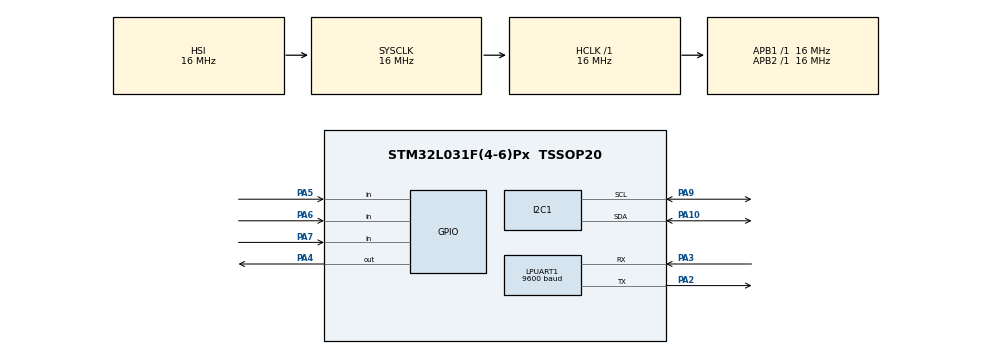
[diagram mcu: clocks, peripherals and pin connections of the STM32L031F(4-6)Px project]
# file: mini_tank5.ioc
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I2C1.Timing=0x00303D5B
LPUART1.BaudRate=9600
LPUART1.WordLength=UART_WORDLENGTH_8B
Mcu.Family=STM32L0
Mcu.Name=STM32L031F(4-6)Px
Mcu.Package=TSSOP20
PA10.Mode=I2C
PA10.Signal=I2C1_SDA
PA2.Mode=Asynchronous
PA2.Signal=LPUART1_TX
PA3.Mode=Asynchronous
PA3.Signal=LPUART1_RX
PA4.PinState=GPIO_PIN_RESET
PA4.Signal=GPIO_Output
PA5.GPIO_PuPd=GPIO_PULLUP
PA5.Signal=GPIO_Input
PA6.GPIO_PuPd=GPIO_PULLUP
PA6.Signal=GPIO_Input
PA7.Signal=GPIO_Input
PA9.Mode=I2C
PA9.Signal=I2C1_SCL
ProjectManager.HeapSize=0x200
ProjectManager.StackSize=0x400
ProjectManager.TargetToolchain=STM32CubeIDE
RCC.AHBFreq_Value=16000000
RCC.APB1Freq_Value=16000000
RCC.APB1TimFreq_Value=16000000
RCC.APB2Freq_Value=16000000
RCC.APB2TimFreq_Value=16000000
RCC.HCLKFreq_Value=16000000
RCC.HSE_VALUE=8000000
RCC.HSI16_VALUE=16000000
RCC.HSI_VALUE=16000000
RCC.LSE_VALUE=32768
RCC.Lpuart1ClockSelection=RCC_LPUART1CLKSOURCE_HSI
RCC.MSI_VALUE=2097000
RCC.SYSCLKFreq_VALUE=16000000
RCC.SYSCLKSource=RCC_SYSCLKSOURCE_HSI
RCC.VCOOutputFreq_Value=48000000
board=custom

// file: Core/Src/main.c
/* USER CODE BEGIN Header */
/**
  ******************************************************************************
  * @file           : main.c
  * @brief          : Main program body
  ******************************************************************************
  * @attention
  *
  * <h2><center>&copy; Copyright (c) 2021 STMicroelectronics.
  * All rights reserved.</center></h2>
  *
  * This software component is licensed by ST under BSD 3-Clause license,
  * the "License"; You may not use this file except in compliance with the
  * License. You may obtain a copy of the License at:
  *                        opensource.org/licenses/BSD-3-Clause
  *
  ******************************************************************************
  */
/* USER CODE END Header */
#include "main.h"
#include "usart.h"
#include "wifi.h"
#include "stm32l0xx_hal.h"
#include "stm32l0xx_it.h"
#include "stm32l0xx_hal_tim.h"
#include "sys.h"
#include "sht30.h"
#include "stdio.h"
//#include "SHT30.h"

/* USER CODE BEGIN Includes */
#define tuya

#ifdef USER_MAIN_DEBUG

#define log(format, ...) printf( format "\r\n",##__VA_ARGS__)

#else
#define log(format, ...)

#endif

/* USER CODE END Includes */

/* USER CODE BEGIN PTD */
    I2C_HandleTypeDef hi2c1;
    SHT30_T SHT3ODATA;
    UART_HandleTypeDef hlpuart1;
    TIM_HandleTypeDef htim2;
    TIM_HandleTypeDef htim21;

//uint16_t adcbuf[10]; //锟斤拷锟絘dc
//uint8_t hall_flag=1;    //锟斤拷锟斤拷锟酵碉拷平锟斤拷志
//uint8_t CONTROL=0x01;  //锟斤拷锟斤拷状态
//uint16_t time=0,time1,time2,now=0,min=0,max=600;
//uint32_t temp = 0;//锟斤拷锟节斤拷锟秸猴拷锟斤拷锟斤拷锟斤拷
//uint16_t rx_temp[1]; //锟斤拷锟节斤拷锟斤拷
//UART_HandleTypeDef hlpuart1;
#ifdef tuya
//uint8_t PERCENT_CONTROL=0,AUTO_POWER=1,BATTERY_PERCENTAGE;
//uint8_t PERCENT_STATE=0;
//uint16_t now_control=0xffff;
#endif
/* USER CODE END PTD */

/* USER CODE BEGIN PFP */

/*
int fputc(int ch, FILE *f)	  //fputc重写
{
	 uint8_t temp[1]={ch};
  HAL_UART_Transmit(&hlpuart1,temp,1,2);
	return ch;
}
*/

/* USER CODE END PFP */

void SystemClock_Config(void);
void MX_GPIO_Init(void);
void MX_LPUART1_UART_Init(void);
static void MX_I2C1_Init(void);
void MX_TIM2_Init(void);
void MX_TIM21_Init(void);

int main(void)
{

  /* MCU Configuration--------------------------------------------------------*/

  /* Reset of all peripherals, Initializes the Flash interface and the Systick. */
  HAL_Init();

  /* Configure the system clock */
  SystemClock_Config();

  /* Initialize all configured peripherals */
  MX_GPIO_Init();
  MX_LPUART1_UART_Init();
  MX_I2C1_Init();

//  MX_TIM2_Init();
//  MX_TIM21_Init();
  /* USER CODE BEGIN 2 */

//  HAL_TIM_Base_Start_IT(&htim21);
//  HAL_TIM_Base_Stop(&htim21);

#ifdef tuya
	wifi_protocol_init();
//    HAL_UART_Receive_IT(&hlpuart1,(uint8_t *)rx_temp, 1);
#endif
  /* USER CODE END 2 */
  /* USER CODE END 2 */

  /* Infinite loop */
  /* USER CODE BEGIN WHILE */

  while (1)
  {

#ifdef tuya
	    wifi_uart_service();  //SDK锟斤拷锟斤拷
	   // mcu_reset_wifi();
		if(HAL_GPIO_ReadPin(sw2_GPIO_Port, sw2_Pin)==0)                //检测按键按下2000ms进入配网模式
		{
			HAL_GPIO_WritePin(led_GPIO_Port, led_Pin, GPIO_PIN_SET);
			HAL_Delay(2000);

			if(HAL_GPIO_ReadPin(sw2_GPIO_Port, sw2_Pin)==0)
		  {
			HAL_GPIO_WritePin(led_GPIO_Port, led_Pin, GPIO_PIN_RESET);
			HAL_Delay(100);
			mcu_set_wifi_mode(SMART_CONFIG);
			HAL_Delay(100);
		  }

			switch(mcu_get_wifi_work_state())                   //查询配网状态
						{
							case SMART_CONFIG_STATE: //Smart 配置状态 LED 快闪 �
							  while(mcu_get_wifi_work_state() == SMART_CONFIG_STATE )
								{
									HAL_GPIO_WritePin(led_GPIO_Port, led_Pin, GPIO_PIN_SET);
									HAL_Delay(500);
									HAL_GPIO_WritePin(led_GPIO_Port, led_Pin, GPIO_PIN_RESET);
									HAL_Delay(500);
			          }
								break;
							case AP_STATE: //AP 配置状态 LED 慢闪
							  while(mcu_get_wifi_work_state() == AP_STATE )
								{
									HAL_GPIO_WritePin(led_GPIO_Port, led_Pin, GPIO_PIN_SET);
									HAL_Delay(2000);
									HAL_GPIO_WritePin(led_GPIO_Port, led_Pin, GPIO_PIN_RESET);
									HAL_Delay(2000);
								}
								break;
							case WIFI_NOT_CONNECTED: //WIFI 配置完成，正在连接路由器
							{
								HAL_GPIO_WritePin(led_GPIO_Port, led_Pin, GPIO_PIN_SET);
								HAL_Delay(250);
								HAL_GPIO_WritePin(led_GPIO_Port, led_Pin, GPIO_PIN_RESET);
								HAL_Delay(250);
							}
								break;
							case WIFI_CONN_CLOUD: //wifi 已连上云端 LED 慢闪硕后关闭
							{
								HAL_GPIO_WritePin(led_GPIO_Port, led_Pin, GPIO_PIN_SET);
							    HAL_Delay(4000);
								HAL_GPIO_WritePin(led_GPIO_Port, led_Pin, GPIO_PIN_RESET);
								HAL_Delay(4000);
								HAL_GPIO_WritePin(led_GPIO_Port, led_Pin, GPIO_PIN_SET);
								HAL_Delay(4000);
								HAL_GPIO_WritePin(led_GPIO_Port, led_Pin, GPIO_PIN_RESET);
								HAL_Delay(4000);
							}
								break;
							default:break;
						}
		}

		 SHT30_ReadData();
		 mcu_dp_value_update(1,SHT3ODATA.temp); //VALUE型数据上报;
		 mcu_dp_value_update(2,SHT3ODATA.humidity); //VALUE型数据上报;

#endif

  }
}

void SystemClock_Config(void)
{
  RCC_OscInitTypeDef RCC_OscInitStruct = {0};
  RCC_ClkInitTypeDef RCC_ClkInitStruct = {0};
  RCC_PeriphCLKInitTypeDef PeriphClkInit = {0};

  /** Configure the main internal regulator output voltage
  */
  __HAL_PWR_VOLTAGESCALING_CONFIG(PWR_REGULATOR_VOLTAGE_SCALE1);
  /** Initializes the RCC Oscillators according to the specified parameters
  * in the RCC_OscInitTypeDef structure.
  */
  RCC_OscInitStruct.OscillatorType = RCC_OSCILLATORTYPE_HSI;
  RCC_OscInitStruct.HSIState = RCC_HSI_ON;
  RCC_OscInitStruct.HSICalibrationValue = RCC_HSICALIBRATION_DEFAULT;
  RCC_OscInitStruct.PLL.PLLState = RCC_PLL_NONE;
  if (HAL_RCC_OscConfig(&RCC_OscInitStruct) != HAL_OK)
  {
    Error_Handler();
  }
  /** Initializes the CPU, AHB and APB buses clocks
  */
  RCC_ClkInitStruct.ClockType = RCC_CLOCKTYPE_HCLK|RCC_CLOCKTYPE_SYSCLK
                              |RCC_CLOCKTYPE_PCLK1|RCC_CLOCKTYPE_PCLK2;
  RCC_ClkInitStruct.SYSCLKSource = RCC_SYSCLKSOURCE_HSI;
  RCC_ClkInitStruct.AHBCLKDivider = RCC_SYSCLK_DIV1;
  RCC_ClkInitStruct.APB1CLKDivider = RCC_HCLK_DIV1;
  RCC_ClkInitStruct.APB2CLKDivider = RCC_HCLK_DIV1;

  if (HAL_RCC_ClockConfig(&RCC_ClkInitStruct, FLASH_LATENCY_0) != HAL_OK)
  {
    Error_Handler();
  }
  PeriphClkInit.PeriphClockSelection = RCC_PERIPHCLK_LPUART1|RCC_PERIPHCLK_I2C1;
  PeriphClkInit.Lpuart1ClockSelection = RCC_LPUART1CLKSOURCE_HSI;
  PeriphClkInit.I2c1ClockSelection = RCC_I2C1CLKSOURCE_PCLK1;
  if (HAL_RCCEx_PeriphCLKConfig(&PeriphClkInit) != HAL_OK)
  {
    Error_Handler();
  }
}

static void MX_I2C1_Init(void)
{

  hi2c1.Instance = I2C1;
  hi2c1.Init.Timing = 0x00303D5B;
  hi2c1.Init.OwnAddress1 = 0;
  hi2c1.Init.AddressingMode = I2C_ADDRESSINGMODE_7BIT;
  hi2c1.Init.DualAddressMode = I2C_DUALADDRESS_DISABLE;
  hi2c1.Init.OwnAddress2 = 0;
  hi2c1.Init.OwnAddress2Masks = I2C_OA2_NOMASK;
  hi2c1.Init.GeneralCallMode = I2C_GENERALCALL_DISABLE;
  hi2c1.Init.NoStretchMode = I2C_NOSTRETCH_DISABLE;
  if (HAL_I2C_Init(&hi2c1) != HAL_OK)
  {
    Error_Handler();
  }
  /** Configure Analogue filter
  */
  if (HAL_I2CEx_ConfigAnalogFilter(&hi2c1, I2C_ANALOGFILTER_ENABLE) != HAL_OK)
  {
    Error_Handler();
  }
  /** Configure Digital filter
  */
  if (HAL_I2CEx_ConfigDigitalFilter(&hi2c1, 0) != HAL_OK)
  {
    Error_Handler();
  }

}

//static void MX_LPUART1_UART_Init(void)
void MX_LPUART1_UART_Init(void)
{

  hlpuart1.Instance = LPUART1;
  hlpuart1.Init.BaudRate = 9600;
  hlpuart1.Init.WordLength = UART_WORDLENGTH_8B;
  hlpuart1.Init.StopBits = UART_STOPBITS_1;
  hlpuart1.Init.Parity = UART_PARITY_NONE;
  hlpuart1.Init.Mode = UART_MODE_TX_RX;
  hlpuart1.Init.HwFlowCtl = UART_HWCONTROL_NONE;
  hlpuart1.Init.OneBitSampling = UART_ONE_BIT_SAMPLE_DISABLE;
  hlpuart1.AdvancedInit.AdvFeatureInit = UART_ADVFEATURE_NO_INIT;
  if (HAL_UART_Init(&hlpuart1) != HAL_OK)
  {
    Error_Handler();
  }

}

//static void MX_GPIO_Init(void)
void MX_GPIO_Init(void)
{
  GPIO_InitTypeDef GPIO_InitStruct = {0};

  /* GPIO Ports Clock Enable */
  __HAL_RCC_GPIOA_CLK_ENABLE();

  /*Configure GPIO pin Output Level */
  HAL_GPIO_WritePin(GPIOA, GPIO_PIN_4, GPIO_PIN_SET);

  /*Configure GPIO pin : PA4 */
  GPIO_InitStruct.Pin = GPIO_PIN_4;
  GPIO_InitStruct.Mode = GPIO_MODE_OUTPUT_PP;
  GPIO_InitStruct.Pull = GPIO_NOPULL;
  GPIO_InitStruct.Speed = GPIO_SPEED_FREQ_LOW;
  HAL_GPIO_Init(GPIOA, &GPIO_InitStruct);

  /*Configure GPIO pins : PA5 PA6 */
  GPIO_InitStruct.Pin = GPIO_PIN_5|GPIO_PIN_6;
  GPIO_InitStruct.Mode = GPIO_MODE_INPUT;
  GPIO_InitStruct.Pull = GPIO_PULLUP;
  HAL_GPIO_Init(GPIOA, &GPIO_InitStruct);

  /*Configure GPIO pin : PA7 */
  GPIO_InitStruct.Pin = GPIO_PIN_7;
  GPIO_InitStruct.Mode = GPIO_MODE_INPUT;
  GPIO_InitStruct.Pull = GPIO_NOPULL;
  HAL_GPIO_Init(GPIOA, &GPIO_InitStruct);

}

void Error_Handler(void)
{
  __disable_irq();
  while (1)
  {
  }
}

SHT30_T SHT30_ReadData()
{
 //   MX_I2C1_Init();

    uint8_t IIC_TXbuf[2] = {SHT30_Read_CMD, SHT30_Read_High};
    uint8_t IIC_RXbuf[6];

    HAL_StatusTypeDef status = HAL_OK;
    SHT30_T data;

    status = HAL_I2C_Master_Transmit(&hi2c1, SHT30_ADDR << 1, IIC_TXbuf, 2, 0xff);
    if (status != HAL_OK)
    {
        HAL_I2C_DeInit(&hi2c1);
        MX_I2C1_Init();
    }
    status = HAL_I2C_Master_Receive(&hi2c1, SHT30_ADDR << 1, IIC_RXbuf, 6, 0xff);
    if (status != HAL_OK)
    {
        HAL_I2C_DeInit(&hi2c1);
        MX_I2C1_Init();
    }
    data.state = status;
    data.temp = (float)(((IIC_RXbuf[0] << 8) + IIC_RXbuf[1]) * 175) / 65535 - 45;
    data.humidity = (float)(((IIC_RXbuf[3] << 8) + IIC_RXbuf[4]) * 100) / 65535;
    HAL_I2C_DeInit(&hi2c1);
    return data;
}

/************************ (C) COPYRIGHT STMicroelectronics *****END OF FILE****/
